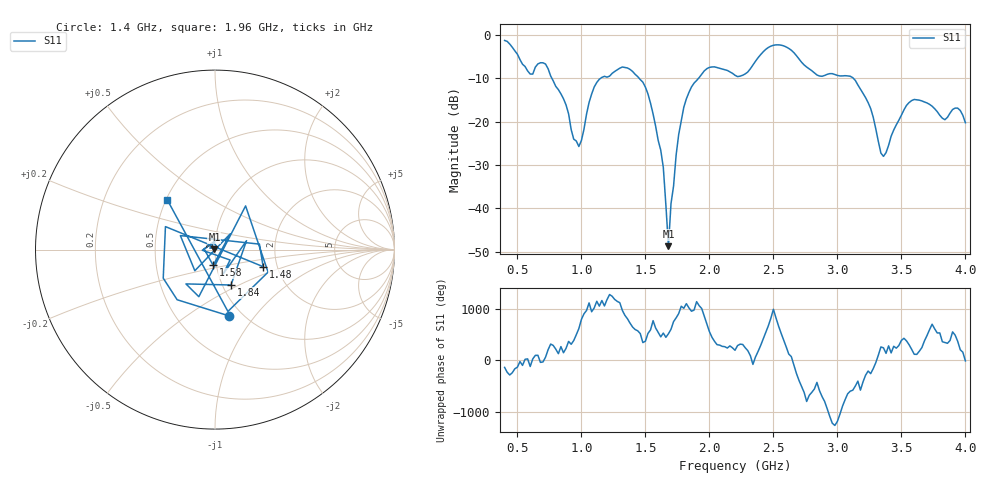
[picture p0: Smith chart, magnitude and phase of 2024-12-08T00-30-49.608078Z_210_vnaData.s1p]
!Created with skrf (http://scikit-rf.org).
# Hz S RI R 50.0
!freq ReS11 ImS11
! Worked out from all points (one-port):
!   181 points, 400 MHz to 4 GHz, reference 50 ohm
!   lowest |S11| = -48.7 dB at 1.68 GHz (marker M1), VSWR 1.01, Z = 49.7 + j0.171 ohm
!   |S11| at or under -10 dB: 768.8 MHz to 1.152 GHz (382.8 MHz wide, 39.9 % of centre); 1.45 GHz to 1.916 GHz (465.6 MHz wide, 27.7 % of centre); 3.124 GHz to end of sweep
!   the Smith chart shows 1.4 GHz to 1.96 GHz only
!   S11 on the Smith chart (normalised r, x): 1.4 GHz: 0.87, -0.75; 1.48 GHz: 1.69, -0.35; 1.58 GHz: 0.96, -0.17; 1.84 GHz: 1.10, -0.45; 1.96 GHz: 0.51, +0.33
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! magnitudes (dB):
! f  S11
! 400 MHz  -1.3
! 600 MHz  -9.0
! 720 MHz  -6.7
! 860 MHz  -14.7
! 940 MHz  -24.0
! 980 MHz  -25.7
! 1.1 GHz  -12.0
! 1.3 GHz  -7.7
! 1.4 GHz  -8.5
! 1.48 GHz  -10.9
! 1.58 GHz  -21.1
! 1.64 GHz  -30.6
! 1.68 GHz  -48.7
! 1.7 GHz  -38.9
! 1.76 GHz  -23.0
! 1.84 GHz  -13.3
! 1.96 GHz  -8.3
! 2.2 GHz  -9.3
! 2.48 GHz  -2.6
! 2.66 GHz  -4.1
! 2.84 GHz  -9.3
! 3.1 GHz  -9.6
! 3.26 GHz  -17.0
! 3.36 GHz  -28.0
! 3.56 GHz  -15.6
! 3.84 GHz  -19.6
! 3.94 GHz  -16.9
! 4 GHz  -20.3
